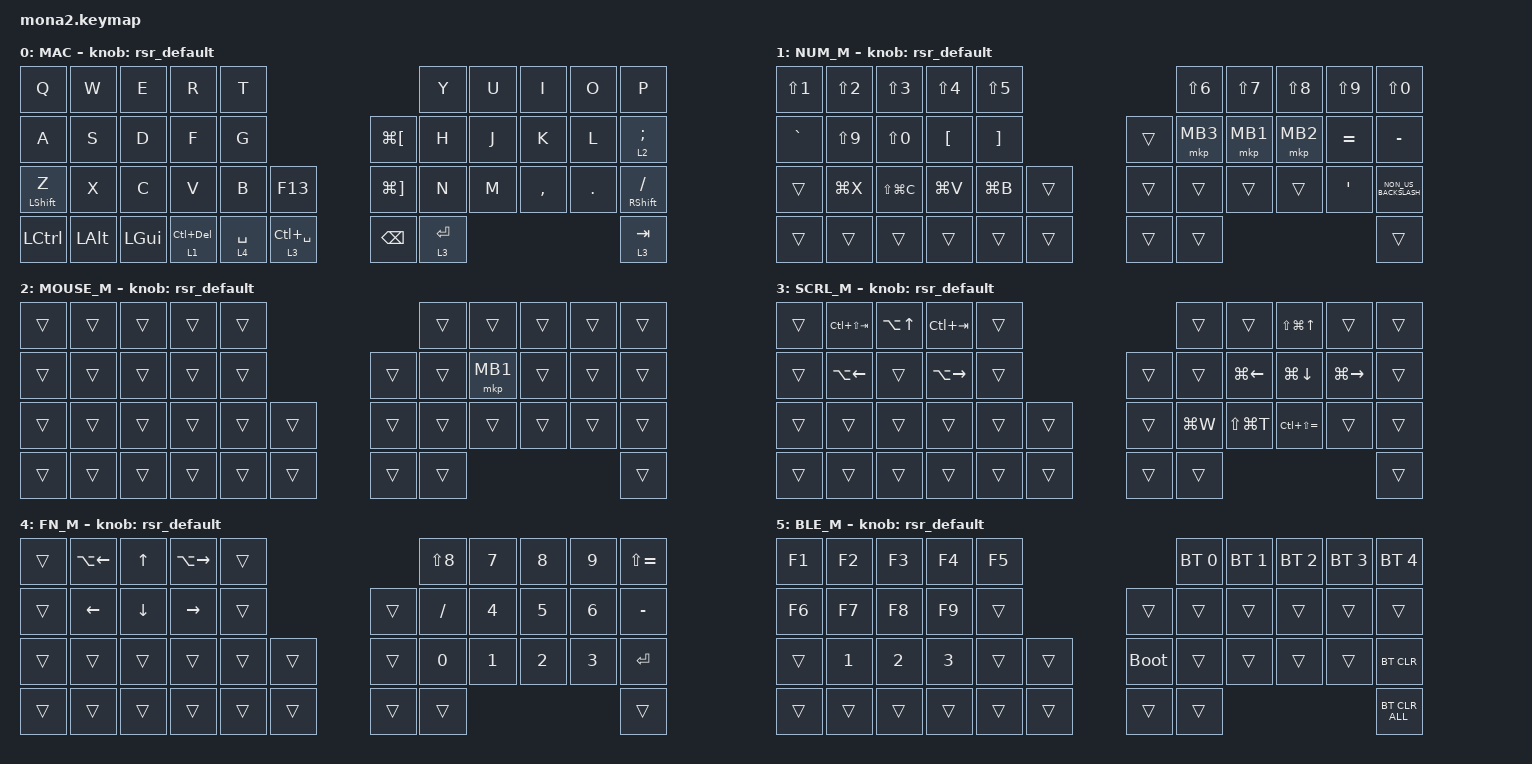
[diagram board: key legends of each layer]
#include <input/processors.dtsi>
#include <dt-bindings/zmk/input_transform.h>
#include <zephyr/dt-bindings/input/input-event-codes.h>
#include <behaviors/runtime-sensor-rotate.dtsi>
#include <behaviors.dtsi>
/* DYA Studio から作成したマクロを呼び出す `&rmacro <slot>` を定義する。
   slot は 0 〜 CONFIG_ZMK_RUNTIME_MACRO_COUNT-1 (現状 0〜7)。
   どのマクロがどのスロットに入っているかは DYA Studio のマクロ一覧で確認する。
   キーへの割り当ては DYA Studio のキーマップエディタからも行える。 */
#include <behaviors/runtime_macro.dtsi>
/* デフォルトレイヤー変更 behavior `&df`。
   DYA Studio の「OSごとのデフォルトレイヤー」から設定できるほか、
   キーマップエディタで `&df DF_SEL <layer>` / `&df DF_INC` を
   任意のキーに割り当てられる。 */
#include <behaviors/default_layer.dtsi>
#include <dt-bindings/zmk_behavior_default_layer/default_layer.h>
#include <dt-bindings/zmk/bt.h>
#include <dt-bindings/zmk/keys.h>
#include <dt-bindings/zmk/outputs.h>
#include <dt-bindings/zmk/pointing.h>

/* ZMK 側で 10 が定義済みなので警告回避のため一旦 undef */

#undef ZMK_POINTING_DEFAULT_SCRL_VAL

#define ZMK_POINTING_DEFAULT_SCRL_VAL 100


/ {
    behaviors {
        mg_set_0: behavior_mg_set_0 {
            compatible = "zmk,behavior-mg-set-fixed";
            #binding-cells = <0>;
            display-name = "Mouse Gesture Key 0";
        };

        mg_set_1: behavior_mg_set_1 {
            compatible = "zmk,behavior-mg-set-fixed";
            #binding-cells = <0>;
            display-name = "Mouse Gesture Key 1";
        };

        mg_set_2: behavior_mg_set_2 {
            compatible = "zmk,behavior-mg-set-fixed";
            #binding-cells = <0>;
            display-name = "Mouse Gesture Key 2";
        };
    };
};

&mt {
    flavor = "balanced";
    quick-tap-ms = <0>;
};

&lt {
    quick-tap-ms = <200>;
    flavor = "balanced";
};

&msc {
    delay-ms = <0>;
    time-to-max-speed-ms = <0>;
    acceleration-exponent = <0>;
};

/ {
    runtime_combo_defaults {
        compatible = "cormoran,runtime-combo-defaults";

        esc_ble {
            slot = <0>;
            display-name = "Esc / BLE_M";
            key-positions = <38 39>;
            bindings = <&lt 5 ESC>;
        };

        tab {
            slot = <1>;
            display-name = "Tab";
            key-positions = <11 12>;
            bindings = <&kp TAB>;
        };

        middle_click {
            slot = <2>;
            display-name = "Middle click";
            key-positions = <17 18>;
            bindings = <&mkp MB3>;
        };

        right_click {
            slot = <3>;
            display-name = "Right click";
            key-positions = <18 19>;
            bindings = <&mkp MB2>;
        };

        ctrl_space {
            slot = <4>;
            display-name = "Ctrl+Space";
            key-positions = <33 37>;
            bindings = <&kp LC(SPACE)>;
        };
    };
    /* 静的マクロ。キーマップ上で &BT0 / &screenshot などの名前で直接
       参照しているため、そのまま残している (DYA Studio 上では編集不可)。
       DYA Studio から編集したいマクロは Web UI で新規作成し、
       キーに `&rmacro <slot>` を割り当てて使う。 */
    macros {
        to_layer_0: to_layer_0 {
            compatible = "zmk,behavior-macro-one-param";
            #binding-cells = <1>;
            bindings = <&to 0 &macro_param_1to1 &kp MACRO_PLACEHOLDER>;
            label = "TO_LAYER_0";
        };

        BT0: BT0 {
            compatible = "zmk,behavior-macro";
            #binding-cells = <0>;
            bindings =
                <&tog_off 0 &tog_off 1>,
                <&macro_wait_time 200>,
                <&bt BT_SEL 0>,
                <&macro_wait_time 500>,
                <&tog_on 0>;

            label = "BT0";
        };

        BT1: BT1 {
            compatible = "zmk,behavior-macro";
            #binding-cells = <0>;
            bindings =
                <&tog_off 0 &tog_off 1>,
                <&macro_wait_time 200>,
                <&bt BT_SEL 1>,
                <&macro_wait_time 500>,
                <&tog_on 1>;

            label = "BT1";
        };

        screenshot: screenshot {
            compatible = "zmk,behavior-macro";
            #binding-cells = <0>;
            bindings =
                <&macro_press>,
                <&kp LEFT_GUI &kp RSHIFT>,
                <&macro_wait_time 20>,
                <&macro_tap>,
                <&kp S>,
                <&macro_release>,
                <&kp LEFT_GUI &kp RSHIFT>;

            label = "SCREENSHOT";
        };

        henkan: henkan {
            compatible = "zmk,behavior-macro";
            #binding-cells = <0>;
            bindings =
                <&macro_press>,
                <&kp LEFT_ALT>,
                <&macro_wait_time 20>,
                <&macro_tap>,
                <&kp GRAVE>,
                <&macro_release>,
                <&kp LEFT_ALT>;

            label = "HENKAN";
        };
    };

    behaviors {
        lt_to_layer_0: lt_to_layer_0 {
            compatible = "zmk,behavior-hold-tap";
            label = "LAYER_TAP_TO_0";
            bindings = <&mo>, <&to_layer_0>;

            #binding-cells = <2>;
            tapping-term-ms = <200>;
        };

        tp_repeat_mo1: tp_repeat_mo1 {
            compatible = "zmk,behavior-hold-tap";
            label = "TP_REPEAT_MO1";
            bindings = <&mo>, <&key_repeat>;

            #binding-cells = <2>;
            tapping-term-ms = <200>;
        };

        // エンコーダ用 runtime-configurable sensor rotate
        // デフォルトはスクロール (cw=SCRL_DOWN, ccw=SCRL_UP)
        // DYA Studio Web UI から レイヤーごとに cw/ccw の binding を
        // kp C_VOL_UP/DN や kp LEFT/RIGHT などへ動的変更可能

        rsr_default: rsr_default {
            compatible = "zmk,behavior-runtime-sensor-rotate";
            #sensor-binding-cells = <0>;
            tap-ms = <16>;
            cw-binding = <&msc SCRL_DOWN>;
            ccw-binding = <&msc SCRL_UP>;
        };

        tog_on: toggle_layer_on_only {
            compatible = "zmk,behavior-toggle-layer";
            #binding-cells = <1>;
            display-name = "Toggle Layer On";
            toggle-mode = "on";
        };

        tog_off: toggle_layer_off_only {
            compatible = "zmk,behavior-toggle-layer";
            #binding-cells = <1>;
            display-name = "Toggle Layer Off";
            toggle-mode = "off";
        };

        zfold: zfold {
            compatible = "zmk,behavior-hold-tap";
            label = "ZFOLD";
            bindings = <&kp>, <&kp>;

            #binding-cells = <2>;
            tapping-term-ms = <300>;
            flavor = "hold-preferred";
            quick-tap-ms = <150>;
            hold-while-undecided;
        };

        zfoldZ: zfoldZ {
            compatible = "zmk,behavior-tap-dance";
            label = "ZFOLDZ";
            #binding-cells = <0>;
            bindings = <&zfold LEFT_SHIFT Z>, <&kp LS(Z)>;
        };
    };

    keymap {
        compatible = "zmk,keymap";

        layer_00_mac_layer {
            display-name = "MAC";
            bindings = <
                &kp Q    &kp W    &kp E    &kp R    &kp T    &kp Y    &kp U    &kp I    &kp O    &kp P
                &kp A    &kp S    &kp D    &kp F    &kp G    &kp LG(LEFT_BRACKET)    &kp H    &kp J    &kp K    &kp L    &lt 2 SEMICOLON
                &mt LEFT_SHIFT Z    &kp X    &kp C    &kp V    &kp B    &kp F13    &kp LG(RIGHT_BRACKET)    &kp N    &kp M    &kp COMMA    &kp PERIOD    &mt RIGHT_SHIFT SLASH
                &kp LEFT_CONTROL    &kp LEFT_ALT    &kp LEFT_GUI    &lt 1 LC(DELETE)    &lt 4 SPACE    &lt 3 LC(SPACE)    &kp BACKSPACE    &lt 3 RETURN    &lt 3 TAB
            >;
            sensor-bindings = <&rsr_default>; /* JSON: sensorIndex 0 */
        };

        layer_01_num_m_layer {
            display-name = "NUM_M";
            bindings = <
                &kp LS(N1)    &kp LS(N2)    &kp LS(N3)    &kp LS(N4)    &kp LS(N5)    &kp LS(N6)    &kp LS(N7)    &kp LS(N8)    &kp LS(N9)    &kp LS(N0)
                &kp GRAVE    &kp LS(N9)    &kp LS(N0)    &kp LEFT_BRACKET    &kp RIGHT_BRACKET    &trans    &mkp MB3    &mkp MB1    &mkp MB2    &kp EQUAL    &kp MINUS
                &trans    &kp LG(X)    &kp LS(LG(C))    &kp LG(V)    &kp LG(B)    &trans    &trans    &trans    &trans    &trans    &kp SQT    &kp NON_US_BACKSLASH
                &trans    &trans    &trans    &trans    &trans    &trans    &trans    &trans    &trans
            >;
            sensor-bindings = <&rsr_default>; /* JSON: sensorIndex 0 */
        };

        layer_02_mouse_m_layer {
            display-name = "MOUSE_M";
            bindings = <
                &trans    &trans    &trans    &trans    &trans    &trans    &trans    &trans    &trans    &trans
                &trans    &trans    &trans    &trans    &trans    &trans    &trans    &mkp MB1    &trans    &trans    &trans
                &trans    &trans    &trans    &trans    &trans    &trans    &trans    &trans    &trans    &trans    &trans    &trans
                &trans    &trans    &trans    &trans    &trans    &trans    &trans    &trans    &trans
            >;
            sensor-bindings = <&rsr_default>; /* JSON: sensorIndex 0 */
        };

        layer_03_scrl_m_layer {
            display-name = "SCRL_M";
            bindings = <
                &trans    &kp LC(LS(TAB))    &kp LA(UP)    &kp LC(TAB)    &trans    &trans    &trans    &kp LS(LG(UP))    &trans    &trans
                &trans    &kp LA(LEFT)    &trans    &kp LA(RIGHT)    &trans    &trans    &trans    &kp LG(LEFT)    &kp LG(DOWN)    &kp LG(RIGHT)    &trans
                &trans    &trans    &trans    &trans    &trans    &trans    &trans    &kp LG(W)    &kp LS(LG(T))    &kp LC(LS(EQUAL))    &trans    &trans
                &trans    &trans    &trans    &trans    &trans    &trans    &trans    &trans    &trans
            >;
            sensor-bindings = <&rsr_default>; /* JSON: sensorIndex 0 */
        };

        layer_04_fn_m_layer {
            display-name = "FN_M";
            bindings = <
                &trans    &kp LA(LEFT)    &kp UP    &kp LA(RIGHT)    &trans    &kp LS(N8)    &kp N7    &kp N8    &kp N9    &kp LS(EQUAL)
                &trans    &kp LEFT    &kp DOWN    &kp RIGHT    &trans    &trans    &kp SLASH    &kp N4    &kp N5    &kp N6    &kp MINUS
                &trans    &trans    &trans    &trans    &trans    &trans    &trans    &kp N0    &kp N1    &kp N2    &kp N3    &kp RETURN
                &trans    &trans    &trans    &trans    &trans    &trans    &trans    &trans    &trans
            >;
            sensor-bindings = <&rsr_default>; /* JSON: sensorIndex 0 */
        };

        layer_05_ble_m_layer {
            display-name = "BLE_M";
            bindings = <
                &kp F1    &kp F2    &kp F3    &kp F4    &kp F5    &bt BT_SEL 0    &bt BT_SEL 1    &bt BT_SEL 2    &bt BT_SEL 3    &bt BT_SEL 4
                &kp F6    &kp F7    &kp F8    &kp F9    &trans    &trans    &trans    &trans    &trans    &trans    &trans
                &trans    &kp N1    &kp N2    &kp N3    &trans    &trans    &bootloader    &trans    &trans    &trans    &trans    &bt BT_CLR
                &trans    &trans    &trans    &trans    &trans    &trans    &trans    &trans    &bt BT_CLR_ALL
            >;
            sensor-bindings = <&rsr_default>; /* JSON: sensorIndex 0 */
        };







    };
};
